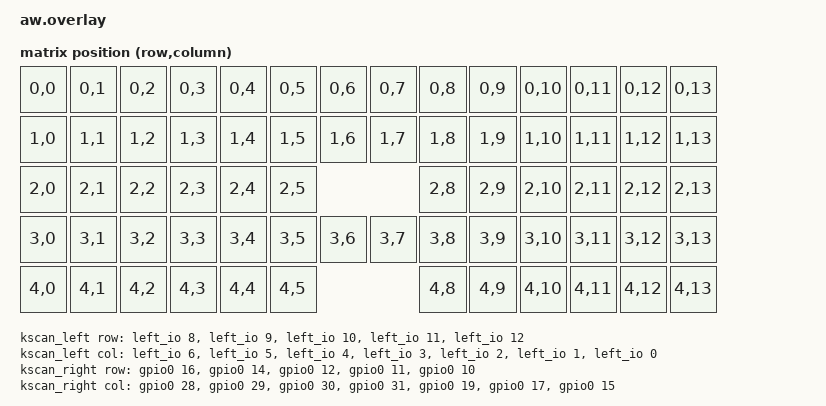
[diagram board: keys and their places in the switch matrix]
#include <dt-bindings/zmk/matrix_transform.h>

/ {
     chosen {
        zmk,kscan = &kscan0;
        zmk,matrix-transform = &default_transform;
    };


    default_transform: keymap_transform_0 {
		compatible = "zmk,matrix-transform";
        rows = <5>;
        columns = <14>;

        map = <
        RC(0,0) RC(0,1) RC(0,2) RC(0,3) RC(0,4) RC(0,5) RC(0,6)     RC(0,7) RC(0,8) RC(0,9) RC(0,10) RC(0,11) RC(0,12) RC(0,13)
        RC(1,0) RC(1,1) RC(1,2) RC(1,3) RC(1,4) RC(1,5) RC(1,6)     RC(1,7) RC(1,8) RC(1,9) RC(1,10) RC(1,11) RC(1,12) RC(1,13)
        RC(2,0) RC(2,1) RC(2,2) RC(2,3) RC(2,4) RC(2,5)                     RC(2,8) RC(2,9) RC(2,10) RC(2,11) RC(2,12) RC(2,13)
        RC(3,0) RC(3,1) RC(3,2) RC(3,3) RC(3,4) RC(3,5) RC(3,6)     RC(3,7) RC(3,8) RC(3,9) RC(3,10) RC(3,11) RC(3,12) RC(3,13)
        RC(4,0) RC(4,1) RC(4,2) RC(4,3) RC(4,4) RC(4,5)                     RC(4,8) RC(4,9) RC(4,10) RC(4,11) RC(4,12) RC(4,13)
        >;
    };
	
    kscan0: kscan {
        wakeup-source;
        compatible = "zmk,kscan-composite";
        rows = <5>;
        columns = <14>;

        left {
            kscan = <&kscan_left>;
        };

        right {
            kscan = <&kscan_right>;
            column-offset = <7>;
        };
    };

    kscan_left: kscan_left {
        compatible = "zmk,kscan-gpio-matrix";

        diode-direction = "col2row";

        // todo
        col-gpios
        = <&left_io 6 (GPIO_ACTIVE_LOW)>
        , <&left_io 5 (GPIO_ACTIVE_LOW)>
        , <&left_io 4 (GPIO_ACTIVE_LOW)>
        , <&left_io 3 (GPIO_ACTIVE_LOW)>
        , <&left_io 2 (GPIO_ACTIVE_LOW)>
        , <&left_io 1 (GPIO_ACTIVE_LOW)>
        , <&left_io 0 (GPIO_ACTIVE_LOW)>
        ;
        row-gpios
        = <&left_io 8  (GPIO_ACTIVE_LOW | GPIO_PULL_UP)>
        , <&left_io 9  (GPIO_ACTIVE_LOW | GPIO_PULL_UP)>
        , <&left_io 10 (GPIO_ACTIVE_LOW | GPIO_PULL_UP)>
        , <&left_io 11 (GPIO_ACTIVE_LOW | GPIO_PULL_UP)>
        , <&left_io 12 (GPIO_ACTIVE_LOW | GPIO_PULL_UP)>
        ;
    };

    kscan_right: kscan_right {
        compatible = "zmk,kscan-gpio-matrix";

        diode-direction = "col2row";

        // todo
        col-gpios
        = <&gpio0 28 (GPIO_ACTIVE_LOW)>
        , <&gpio0 29 (GPIO_ACTIVE_LOW)>
        , <&gpio0 30 (GPIO_ACTIVE_LOW)>
        , <&gpio0 31 (GPIO_ACTIVE_LOW)>
        , <&gpio0 19 (GPIO_ACTIVE_LOW)>
        , <&gpio0 17 (GPIO_ACTIVE_LOW)>
        , <&gpio0 15 (GPIO_ACTIVE_LOW)>
        ;
        row-gpios
        = <&gpio0 16  (GPIO_ACTIVE_LOW | GPIO_PULL_UP)>
        , <&gpio0 14  (GPIO_ACTIVE_LOW | GPIO_PULL_UP)>
        , <&gpio0 12  (GPIO_ACTIVE_LOW | GPIO_PULL_UP)>
        , <&gpio0 11  (GPIO_ACTIVE_LOW | GPIO_PULL_UP)>
        , <&gpio0 10  (GPIO_ACTIVE_LOW | GPIO_PULL_UP)>
        ;
    };
};    
